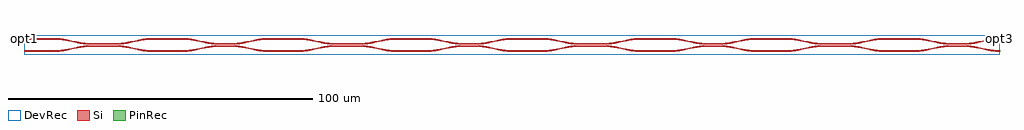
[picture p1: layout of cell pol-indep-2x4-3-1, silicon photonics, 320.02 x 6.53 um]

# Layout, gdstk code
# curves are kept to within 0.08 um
import gdstk
lib = gdstk.Library(unit=1e-6, precision=1e-09)
def R(c, l, rs):  # rectangles x0, y0, x1, y1
    for r in rs: c.add(gdstk.rectangle(r[:2], r[2:], *l))
def P(c, l, *ps):  # polygons
    for p in ps: c.add(gdstk.Polygon(p, *l))
Si = (1, 0)
PinRec = (1, 10)
DevRec = (68, 0)

layer_0_0_phase_sec_0_2 = lib.new_cell('layer-0_0_phase_sec_0$2')
P(layer_0_0_phase_sec_0_2, Si, [(4.61,-0.238),(0,-0.225),(0,0.225),(10,0.225),(10,-0.225)])

layer_0_0_phase_sec_1_2 = lib.new_cell('layer-0_0_phase_sec_1$2')
P(layer_0_0_phase_sec_1_2, Si, [(6.139,-0.233),(0,-0.225),(0,0.225),(10,0.225),(10,-0.225)])

dc_arm_up_8_2 = lib.new_cell('dc_arm_up_8$2')
R(dc_arm_up_8_2, Si, [(12,0.1,20,0.55)])
P(dc_arm_up_8_2, Si, [(12,0.1),(10.861,0.137),(9.344,0.292),(2.966,1.532),(1.481,1.712),(0,1.775),(0,2.225),(1.139,2.188),(2.656,2.033),(9.034,0.793),(10.519,0.613),(12,0.55)],
  [(20,0.1),(20,0.55),(21.481,0.613),(22.966,0.793),(29.344,2.033),(30.861,2.188),(32,2.225),(32,1.775),(30.519,1.712),(29.034,1.532),(22.656,0.292),(21.139,0.137)])

dc_arm_down_8_2 = lib.new_cell('dc_arm_down_8$2')
R(dc_arm_down_8_2, Si, [(12,-0.55,20,-0.1)])
P(dc_arm_down_8_2, Si, [(0,-2.225),(0,-1.775),(1.481,-1.712),(2.966,-1.532),(9.344,-0.292),(10.861,-0.137),(12,-0.1),(12,-0.55),(10.519,-0.613),(9.034,-0.793),(2.656,-2.033),(1.139,-2.188)],
  [(32,-2.225),(30.861,-2.188),(29.344,-2.033),(22.966,-0.793),(21.481,-0.613),(20,-0.55),(20,-0.1),(21.139,-0.137),(22.656,-0.292),(29.034,-1.532),(30.519,-1.712),(32,-1.775)])

dc_8_2 = lib.new_cell('dc_8$2')
dc_8_2.add(gdstk.Reference(dc_arm_up_8_2, (0,0)))
dc_8_2.add(gdstk.Reference(dc_arm_down_8_2, (0,0)))

layer_0_0_phase_sec_2_2 = lib.new_cell('layer-0_0_phase_sec_2$2')
P(layer_0_0_phase_sec_2_2, Si, [(4.599,-0.234),(0,-0.225),(0,0.225),(10,0.225),(10,-0.225)])

layer_0_0_phase_sec_3_2 = lib.new_cell('layer-0_0_phase_sec_3$2')
P(layer_0_0_phase_sec_3_2, Si, [(3.078,-0.238),(0,-0.225),(0,0.225),(10,0.225),(10,-0.225)])

dc_arm_up_4_2 = lib.new_cell('dc_arm_up_4$2')
R(dc_arm_up_4_2, Si, [(12,0.1,16,0.55)])
P(dc_arm_up_4_2, Si, [(12,0.1),(10.861,0.137),(9.344,0.292),(2.966,1.532),(1.481,1.712),(0,1.775),(0,2.225),(1.139,2.188),(2.656,2.033),(9.034,0.793),(10.519,0.613),(12,0.55)],
  [(16,0.1),(16,0.55),(17.481,0.613),(18.966,0.793),(25.344,2.033),(26.861,2.188),(28,2.225),(28,1.775),(26.519,1.712),(25.034,1.532),(18.656,0.292),(17.139,0.137)])

dc_arm_down_4_2 = lib.new_cell('dc_arm_down_4$2')
R(dc_arm_down_4_2, Si, [(12,-0.55,16,-0.1)])
P(dc_arm_down_4_2, Si, [(0,-2.225),(0,-1.775),(1.481,-1.712),(2.966,-1.532),(9.344,-0.292),(10.861,-0.137),(12,-0.1),(12,-0.55),(10.519,-0.613),(9.034,-0.793),(2.656,-2.033),(1.139,-2.188)],
  [(28,-2.225),(26.861,-2.188),(25.344,-2.033),(18.966,-0.793),(17.481,-0.613),(16,-0.55),(16,-0.1),(17.139,-0.137),(18.656,-0.292),(25.034,-1.532),(26.519,-1.712),(28,-1.775)])

dc_4_2 = lib.new_cell('dc_4$2')
dc_4_2.add(gdstk.Reference(dc_arm_up_4_2, (0,0)))
dc_4_2.add(gdstk.Reference(dc_arm_down_4_2, (0,0)))

layer_1_0_phase_sec_0_2 = lib.new_cell('layer-1_0_phase_sec_0$2')
P(layer_1_0_phase_sec_0_2, Si, [(3.066,-0.231),(0,-0.225),(0,0.225),(10,0.225),(10,-0.225)])

layer_1_0_phase_sec_1_2 = lib.new_cell('layer-1_0_phase_sec_1$2')
P(layer_1_0_phase_sec_1_2, Si, [(6.155,-0.25),(0,-0.225),(0,0.225),(10,0.225),(10,-0.225)])

layer_1_0_phase_sec_2_2 = lib.new_cell('layer-1_0_phase_sec_2$2')
P(layer_1_0_phase_sec_2_2, Si, [(0,-0.225),(0,0.225),(10,0.225),(10,-0.225)])

layer_1_0_phase_sec_3_2 = lib.new_cell('layer-1_0_phase_sec_3$2')
P(layer_1_0_phase_sec_3_2, Si, [(7.705,-0.258),(0,-0.225),(0,0.225),(10,0.225),(10,-0.225)])

layer_2_0_phase_sec_0_2 = lib.new_cell('layer-2_0_phase_sec_0$2')
P(layer_2_0_phase_sec_0_2, Si, [(1.533,-0.232),(0,-0.225),(0,0.225),(10,0.225),(10,-0.225)])

layer_2_0_phase_sec_1_2 = lib.new_cell('layer-2_0_phase_sec_1$2')
P(layer_2_0_phase_sec_1_2, Si, [(6.15,-0.271),(0,-0.225),(0,0.225),(10,0.225),(10,-0.225)])

layer_2_0_phase_sec_2_2 = lib.new_cell('layer-2_0_phase_sec_2$2')
P(layer_2_0_phase_sec_2_2, Si, [(3.081,-0.243),(0,-0.225),(0,0.225),(10,0.225),(10,-0.225)])

layer_2_0_phase_sec_3_2 = lib.new_cell('layer-2_0_phase_sec_3$2')
P(layer_2_0_phase_sec_3_2, Si, [(0,-0.225),(0,0.225),(10,0.225),(10,-0.225)])

layer_3_0_phase_sec_0_2 = lib.new_cell('layer-3_0_phase_sec_0$2')
P(layer_3_0_phase_sec_0_2, Si, [(1.533,-0.235),(0,-0.225),(0,0.225),(10,0.225),(10,-0.225)])

layer_3_0_phase_sec_1_2 = lib.new_cell('layer-3_0_phase_sec_1$2')
P(layer_3_0_phase_sec_1_2, Si, [(7.67,-0.235),(0,-0.225),(0,0.225),(10,0.225),(10,-0.225)])

layer_3_0_phase_sec_2_2 = lib.new_cell('layer-3_0_phase_sec_2$2')
P(layer_3_0_phase_sec_2_2, Si, [(4.619,-0.254),(0,-0.225),(0,0.225),(10,0.225),(10,-0.225)])

layer_3_0_phase_sec_3_2 = lib.new_cell('layer-3_0_phase_sec_3$2')
P(layer_3_0_phase_sec_3_2, Si, [(3.065,-0.228),(0,-0.225),(0,0.225),(10,0.225),(10,-0.225)])

pol_indep_2x4_3_1 = lib.new_cell('pol-indep-2x4-3-1')
R(pol_indep_2x4_3_1, DevRec, [(0,-1,320,5.525)])
pol_indep_2x4_3_1.add(gdstk.FlexPath([(0.01,4.271),(-0.01,4.271)], 0.45, ends="flush", simple_path=True, layer=1, datatype=10))  # PinRec
pol_indep_2x4_3_1.add(gdstk.FlexPath([(319.99,4.271),(320.01,4.271)], 0.45, ends="flush", simple_path=True, layer=1, datatype=10))  # PinRec
pol_indep_2x4_3_1.add(gdstk.FlexPath([(319.99,0.271),(320.01,0.271)], 0.45, ends="flush", simple_path=True, layer=1, datatype=10))  # PinRec
pol_indep_2x4_3_1.add(gdstk.Reference(layer_0_0_phase_sec_0_2, (0,4.271)))
pol_indep_2x4_3_1.add(gdstk.Reference(layer_0_0_phase_sec_1_2, (0,0.271)))
pol_indep_2x4_3_1.add(gdstk.Reference(dc_8_2, (10,2.271)))
pol_indep_2x4_3_1.add(gdstk.Reference(layer_0_0_phase_sec_2_2, (42,4.271)))
pol_indep_2x4_3_1.add(gdstk.Reference(layer_0_0_phase_sec_3_2, (42,0.271)))
pol_indep_2x4_3_1.add(gdstk.Reference(dc_4_2, (52,2.271)))
pol_indep_2x4_3_1.add(gdstk.Reference(layer_1_0_phase_sec_0_2, (80,4.271)))
pol_indep_2x4_3_1.add(gdstk.Reference(layer_1_0_phase_sec_1_2, (80,0.271)))
pol_indep_2x4_3_1.add(gdstk.Reference(dc_8_2, (90,2.271)))
pol_indep_2x4_3_1.add(gdstk.Reference(layer_1_0_phase_sec_2_2, (122,4.271)))
pol_indep_2x4_3_1.add(gdstk.Reference(layer_1_0_phase_sec_3_2, (122,0.271)))
pol_indep_2x4_3_1.add(gdstk.Reference(dc_4_2, (132,2.271)))
pol_indep_2x4_3_1.add(gdstk.Reference(layer_2_0_phase_sec_0_2, (160,4.271)))
pol_indep_2x4_3_1.add(gdstk.Reference(layer_2_0_phase_sec_1_2, (160,0.271)))
pol_indep_2x4_3_1.add(gdstk.Reference(dc_8_2, (170,2.271)))
pol_indep_2x4_3_1.add(gdstk.Reference(layer_2_0_phase_sec_2_2, (202,4.271)))
pol_indep_2x4_3_1.add(gdstk.Reference(layer_2_0_phase_sec_3_2, (202,0.271)))
pol_indep_2x4_3_1.add(gdstk.Reference(dc_4_2, (212,2.271)))
pol_indep_2x4_3_1.add(gdstk.Reference(layer_3_0_phase_sec_0_2, (240,4.271)))
pol_indep_2x4_3_1.add(gdstk.Reference(layer_3_0_phase_sec_1_2, (240,0.271)))
pol_indep_2x4_3_1.add(gdstk.Reference(dc_8_2, (250,2.271)))
pol_indep_2x4_3_1.add(gdstk.Reference(layer_3_0_phase_sec_2_2, (282,4.271)))
pol_indep_2x4_3_1.add(gdstk.Reference(layer_3_0_phase_sec_3_2, (282,0.271)))
pol_indep_2x4_3_1.add(gdstk.Reference(dc_4_2, (292,2.271)))
pol_indep_2x4_3_1.add(gdstk.Label('opt1', (0,4.271), layer=1, texttype=10))
pol_indep_2x4_3_1.add(gdstk.Label('opt3', (320,4.271), layer=1, texttype=10))
pol_indep_2x4_3_1.add(gdstk.Label('opt4', (320,0.271), layer=1, texttype=10))

lib.write_gds('pol-indep-2x4-3-1.gds')
